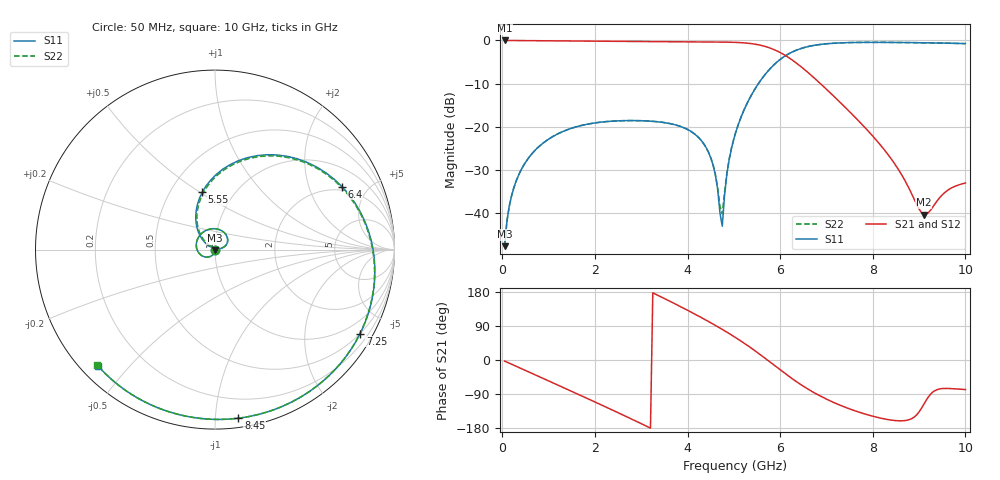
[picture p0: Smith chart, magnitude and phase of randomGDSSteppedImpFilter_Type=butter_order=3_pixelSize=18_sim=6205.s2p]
! freq	dB(S11)	phase(S11)	dB(S12)	phase(S12)
!  dB(S21)	phase(S21)	dB(S22)	phase(S22)
!S-par simulation data
#  GHz  S  DB  R 50
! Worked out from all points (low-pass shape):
!   200 points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, 50 MHz to 10 GHz, reference 50 ohm
!   highest |S21| = 0.00 dB at 50 MHz (marker M1); lowest = -40.4 dB at 9.1 GHz (marker M2)
!   |S21| within 3 dB of the highest: start of sweep to 6.035 GHz
!   lowest |S11| = -47.7 dB at 50 MHz (marker M3), VSWR 1.01, Z = 50 - j0.414 ohm
!   |S11| at or under -10 dB: start of sweep to 5.531 GHz
!   |S22| runs from -47.7 to -0.4 dB; largest |S21 - S12| = 0
!   S11 on the Smith chart (normalised r, x): 50 MHz: 1.00, -0.01; 5.55 GHz: 0.71, +0.51; 6.4 GHz: 1.80, +3.36; 7.25 GHz: 0.50, -3.67; 8.45 GHz: 0.06, -1.15; 10 GHz: 0.05, -0.41
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0.05  -47.67 -89.5  -0.00 -2.8  -0.00 -2.8  -47.67 -89.6
0.2  -36.01 -100.1  -0.02 -11.1  -0.02 -11.1  -36.01 -100.1
0.5  -28.26 -118.1  -0.04 -27.6  -0.04 -27.6  -28.26 -118.2
1.15  -21.91 -154.6  -0.10 -63.4  -0.10 -63.4  -21.92 -154.8
1.75  -19.60 171.9  -0.16 -96.7  -0.16 -96.7  -19.60 171.5
2.65  -18.58 121.0  -0.24 -147.6  -0.24 -147.6  -18.58 120.5
3.4  -18.90 77.2  -0.30 168.3  -0.30 168.3  -18.89 76.8
3.9  -20.14 47.1  -0.33 137.6  -0.33 137.6  -20.14 47.1
4.4  -24.81 17.8  -0.35 105.2  -0.35 105.2  -24.78 19.1
4.6  -31.12 11.1  -0.36 91.5  -0.36 91.5  -30.93 15.5
4.75  -43.05 103.2  -0.38 80.8  -0.38 80.8  -40.18 95.6
4.85  -30.97 147.5  -0.39 73.5  -0.39 73.5  -30.68 140.6
5.05  -20.99 141.4  -0.46 58.3  -0.46 58.3  -20.94 138.2
5.55  -9.70 102.5  -1.05 16.0  -1.05 16.0  -9.70 100.9
6  -4.41 61.4  -2.80 -25.9  -2.80 -25.9  -4.40 60.2
6.4  -2.05 26.4  -5.65 -61.2  -5.65 -61.2  -2.05 25.4
6.7  -1.20 3.6  -8.36 -83.9  -8.36 -83.9  -1.20 2.7
7.25  -0.59 -30.0  -13.88 -117.0  -13.88 -117.0  -0.59 -30.8
8.35  -0.45 -78.4  -26.74 -157.7  -26.74 -157.7  -0.45 -79.0
8.45  -0.46 -82.1  -28.22 -159.4  -28.22 -159.4  -0.46 -82.7
9.1  -0.54 -104.7  -40.39 -117.5  -40.39 -117.5  -0.54 -105.4
10  -0.73 -135.0  -33.03 -77.9  -33.03 -77.9  -0.74 -135.7
